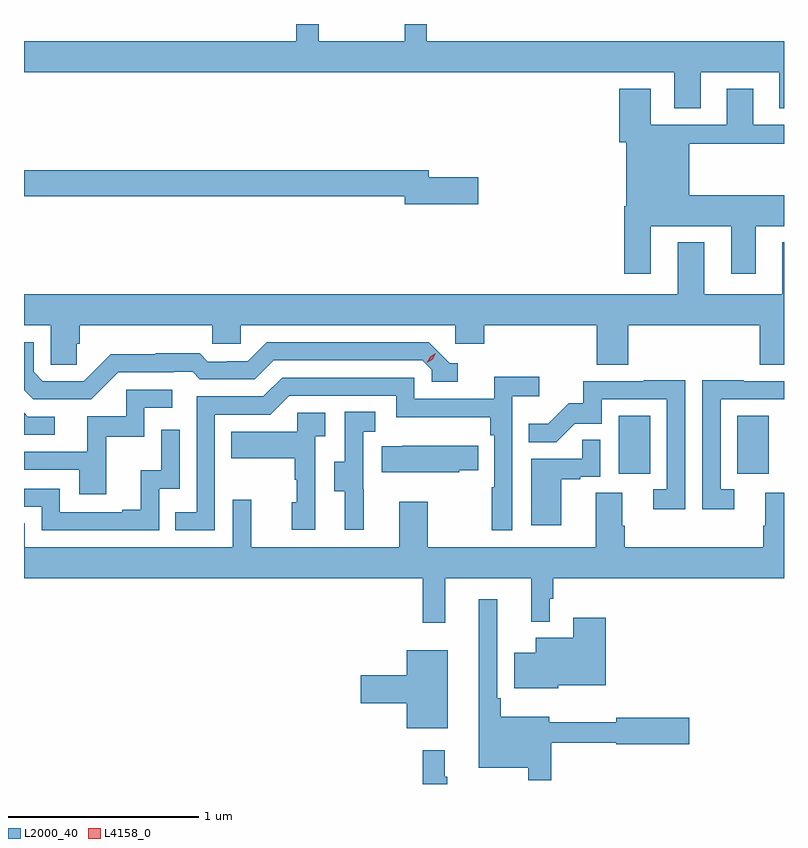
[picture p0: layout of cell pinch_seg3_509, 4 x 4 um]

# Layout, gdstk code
import gdstk
lib = gdstk.Library(unit=1e-6, precision=1e-09)
def R(c, l, rs):  # rectangles x0, y0, x1, y1
    for r in rs: c.add(gdstk.rectangle(r[:2], r[2:], *l))
def P(c, l, *ps):  # polygons
    for p in ps: c.add(gdstk.Polygon(p, *l))
L2000_40 = (2000, 40)
L4158_0 = (4158, 0)

pinch_seg3_509 = lib.new_cell('pinch_seg3_509')
R(pinch_seg3_509, L2000_40, [(975.884,676.158,976.048,676.465), (976.508,676.158,976.672,676.465)])
P(pinch_seg3_509, L2000_40, [(976.315,678.272),(976.727,678.272),(976.727,678.082),(976.753,678.082),(976.753,678.436),(974.873,678.436),(974.873,678.526),(974.756,678.526),(974.756,678.436),(974.303,678.436),(974.303,678.526),(974.185,678.526),(974.185,678.436),(972.753,678.436),(972.753,678.272),(976.175,678.272),(976.175,678.082),(976.315,678.082)],
  [(976.051,677.462),(976.475,677.462),(976.475,677.211),(976.603,677.211),(976.603,677.462),(976.753,677.462),(976.753,677.626),(976.255,677.626),(976.255,677.896),(976.753,677.896),(976.753,677.997),(976.591,677.997),(976.591,678.184),(976.451,678.184),(976.451,677.997),(976.051,677.997),(976.051,678.184),(975.887,678.184),(975.887,677.904),(975.923,677.904),(975.923,677.566),(975.911,677.566),(975.911,677.211),(976.051,677.211)],
  [(975.145,677.72),(974.884,677.72),(974.884,677.756),(972.753,677.756),(972.753,677.62),(974.756,677.62),(974.756,677.578),(975.145,677.578)],
  [(976.625,676.732),(976.753,676.732),(976.753,677.377),(976.745,677.377),(976.745,677.104),(976.333,677.104),(976.333,677.377),(976.193,677.377),(976.193,677.104),(972.753,677.104),(972.753,676.94),(972.894,676.94),(972.894,676.732),(973.031,676.732),(973.031,676.842),(973.046,676.842),(973.046,676.94),(973.743,676.94),(973.743,676.842),(973.893,676.842),(973.893,676.94),(975.024,676.94),(975.024,676.842),(975.176,676.842),(975.176,676.94),(975.767,676.94),(975.767,676.732),(975.932,676.732),(975.932,676.94),(976.625,676.94)],
  [(973.248,676.692),(973.541,676.692),(973.541,676.695),(973.64,676.695),(973.679,676.656),(973.968,676.656),(974.067,676.755),(974.85,676.755),(974.898,676.707),(974.898,676.644),(975.037,676.644),(975.037,676.74),(974.994,676.74),(974.883,676.851),(974.03,676.851),(973.931,676.752),(973.824,676.752),(973.824,676.749),(973.721,676.749),(973.679,676.792),(973.446,676.792),(973.446,676.789),(973.21,676.789),(973.068,676.647),(972.852,676.647),(972.804,676.695),(972.804,676.851),(972.753,676.851),(972.753,676.599),(972.801,676.551),(973.107,676.551)],
  [(973.758,676.47),(974.049,676.47),(974.148,676.569),(974.712,676.569),(974.712,676.457),(975.208,676.457),(975.208,676.361),(975.228,676.361),(975.228,676.088),(975.216,676.088),(975.216,675.861),(975.324,675.861),(975.324,676.568),(975.466,676.568),(975.466,676.67),(975.227,676.67),(975.227,676.554),(974.808,676.554),(974.808,676.665),(974.111,676.665),(974.012,676.566),(973.662,676.566),(973.662,675.957),(973.549,675.957),(973.549,675.861),(973.758,675.861)],
  [(976.233,676.652),(976.015,676.652),(976.015,676.647),(975.697,676.647),(975.697,676.53),(975.62,676.53),(975.513,676.423),(975.409,676.423),(975.409,676.324),(975.553,676.324),(975.651,676.422),(975.795,676.422),(975.795,676.551),(976.137,676.551),(976.137,676.077),(976.065,676.077),(976.065,675.972),(976.233,675.972)],
  [(976.492,676.077),(976.419,676.077),(976.419,676.551),(976.753,676.551),(976.753,676.647),(976.541,676.647),(976.541,676.652),(976.323,676.652),(976.323,675.972),(976.492,675.972)],
  [(973.187,676.353),(973.386,676.353),(973.386,676.506),(973.534,676.506),(973.534,676.602),(973.29,676.602),(973.29,676.461),(973.085,676.461),(973.085,676.275),(972.753,676.275),(972.753,676.179),(973.043,676.179),(973.043,676.05),(973.187,676.05)],
  [(974.54,676.077),(974.538,676.077),(974.538,676.381),(974.602,676.381),(974.602,676.484),(974.442,676.484),(974.442,676.221),(974.387,676.221),(974.387,676.066),(974.441,676.066),(974.441,675.864),(974.54,675.864)],
  [(972.916,676.458),(972.774,676.458),(972.753,676.479),(972.753,676.365),(972.916,676.365)],
  [(974.286,676.355),(974.338,676.355),(974.338,676.479),(974.19,676.479),(974.19,676.381),(973.843,676.381),(973.843,676.241),(974.178,676.241),(974.178,676.127),(974.188,676.127),(974.188,676.008),(974.162,676.008),(974.162,675.864),(974.286,675.864)],
  [(973.464,676.08),(973.572,676.08),(973.572,676.39),(973.476,676.39),(973.476,676.178),(973.367,676.178),(973.367,675.97),(973.271,675.97),(973.271,675.957),(972.942,675.957),(972.942,676.08),(972.753,676.08),(972.753,675.984),(972.846,675.984),(972.846,675.861),(973.464,675.861)],
  [(975.58,676.131),(975.68,676.131),(975.68,676.143),(975.786,676.143),(975.786,676.337),(975.691,676.337),(975.691,676.239),(975.422,676.239),(975.422,675.888),(975.58,675.888)],
  [(975.045,676.177),(975.143,676.177),(975.143,676.306),(974.743,676.306),(974.743,676.303),(974.635,676.303),(974.635,676.166),(975.045,676.166)],
  [(974.969,675.608),(975.422,675.608),(975.422,675.38),(975.519,675.38),(975.519,675.501),(975.539,675.501),(975.539,675.608),(976.753,675.608),(976.753,676.058),(976.655,676.058),(976.655,675.884),(976.643,675.884),(976.643,675.772),(975.914,675.772),(975.914,675.884),(975.901,675.884),(975.901,676.058),(975.761,676.058),(975.761,675.772),(974.877,675.772),(974.877,676.012),(974.729,676.012),(974.729,675.772),(973.949,675.772),(973.949,676.021),(973.851,676.021),(973.851,675.772),(972.756,675.772),(972.756,675.899),(972.753,675.899),(972.753,675.608),(974.851,675.608),(974.851,675.375),(974.969,675.375)],
  [(975.529,674.742),(975.87,674.742),(975.87,674.734),(976.255,674.734),(976.255,674.876),(975.87,674.876),(975.87,674.852),(975.517,674.852),(975.517,674.881),(975.263,674.881),(975.263,674.977),(975.243,674.977),(975.243,675.499),(975.146,675.499),(975.146,674.612),(975.408,674.612),(975.408,674.547),(975.529,674.547)],
  [(975.564,675.047),(975.815,675.047),(975.815,675.4),(975.644,675.4),(975.644,675.295),(975.446,675.295),(975.446,675.217),(975.332,675.217),(975.332,675.029),(975.564,675.029)],
  [(974.983,675.229),(974.768,675.229),(974.768,675.098),(974.526,675.098),(974.526,674.951),(974.768,674.951),(974.768,674.819),(974.983,674.819)],
  [(974.98,674.564),(974.968,674.564),(974.968,674.704),(974.851,674.704),(974.851,674.526),(974.98,674.526)])
P(pinch_seg3_509, L4158_0, [(974.873,676.742),(974.873,676.742),(974.89,676.774),(974.921,676.793),(974.921,676.793),(974.921,676.793),(974.904,676.761),(974.873,676.742)])

lib.write_gds('pinch_seg3_509.gds')
